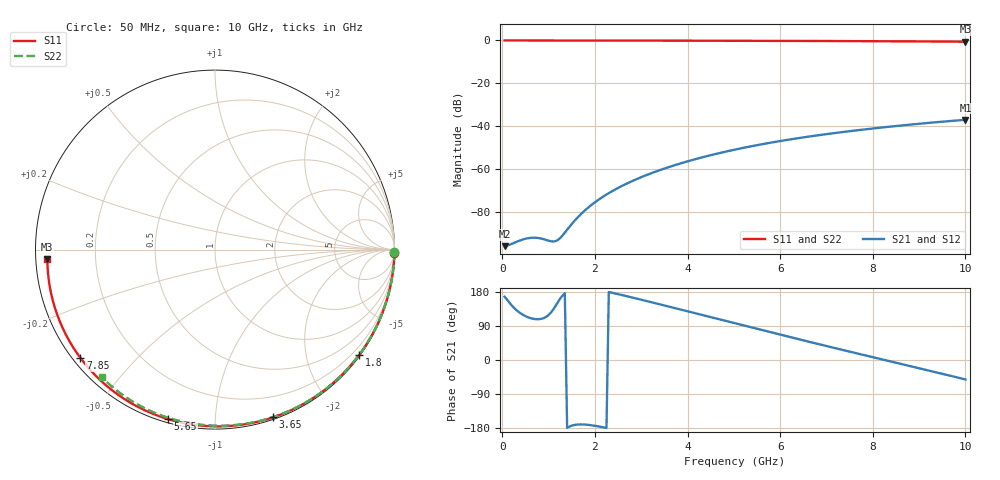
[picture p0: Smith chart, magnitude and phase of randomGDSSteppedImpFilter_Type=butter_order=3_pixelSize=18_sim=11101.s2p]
! freq	dB(S11)	phase(S11)	dB(S12)	phase(S12)
!  dB(S21)	phase(S21)	dB(S22)	phase(S22)
!S-par simulation data
#  GHz  S  DB  R 50
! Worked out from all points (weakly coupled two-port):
!   200 points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, 50 MHz to 10 GHz, reference 50 ohm
!   highest |S21| = -37.04 dB at 10 GHz (marker M1); lowest = -96.0 dB at 50 MHz (marker M2)
!   lowest |S11| = -0.6 dB at 10 GHz (marker M3), VSWR 30.01, Z = 1.67 - j1.4 ohm
!   |S11| at or under -10 dB: nowhere
!   |S22| runs from -0.4 to 0.0 dB; largest |S21 - S12| = 0
!   S11 on the Smith chart (normalised r, x): 50 MHz: open; 1.8 GHz: 0.03, -3.07; 3.65 GHz: 0.02, -1.40; 5.65 GHz: 0.02, -0.76; 7.85 GHz: 0.02, -0.35; 10 GHz: 0.03, -0.03
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0.05  -0.00 -1.0  -95.98 167.2  -95.98 167.2  -0.00 -0.8
0.45  -0.01 -9.2  -92.81 118.9  -92.81 118.9  -0.01 -6.8
0.85  -0.02 -17.2  -92.46 108.8  -92.46 108.8  -0.02 -12.9
1.3  -0.03 -26.2  -91.00 169.9  -91.00 169.9  -0.02 -19.6
1.75  -0.04 -35.1  -79.95 -170.1  -79.95 -170.1  -0.03 -26.2
1.8  -0.05 -36.1  -78.98 -170.5  -78.98 -170.5  -0.03 -27.0
1.95  -0.05 -39.0  -76.32 -172.6  -76.32 -172.6  -0.04 -29.2
2.1  -0.05 -41.9  -73.97 -175.7  -73.97 -175.7  -0.04 -31.3
2.45  -0.06 -48.6  -69.38 175.2  -69.38 175.2  -0.05 -36.4
2.9  -0.07 -57.1  -64.70 162.1  -64.70 162.1  -0.06 -42.9
3.4  -0.09 -66.4  -60.51 146.9  -60.51 146.9  -0.07 -49.9
3.65  -0.10 -70.9  -58.70 139.3  -58.70 139.3  -0.07 -53.4
4.35  -0.12 -83.4  -54.35 117.7  -54.35 117.7  -0.09 -63.0
5.05  -0.15 -95.4  -50.80 96.1  -50.80 96.1  -0.11 -72.2
5.65  -0.18 -105.5  -48.25 77.6  -48.25 77.6  -0.13 -80.0
6.15  -0.20 -113.8  -46.39 62.3  -46.39 62.3  -0.15 -86.3
6.7  -0.24 -122.7  -44.59 45.8  -44.59 45.8  -0.18 -93.1
7.3  -0.28 -132.4  -42.86 28.0  -42.86 28.0  -0.21 -100.4
7.85  -0.33 -141.2  -41.44 12.0  -41.44 12.0  -0.25 -106.9
8.35  -0.38 -149.3  -40.27 -2.5  -40.27 -2.5  -0.29 -112.7
9.2  -0.48 -163.2  -38.47 -27.3  -38.47 -27.3  -0.36 -122.4
10  -0.58 -176.8  -37.04 -51.4  -37.04 -51.4  -0.44 -131.5
